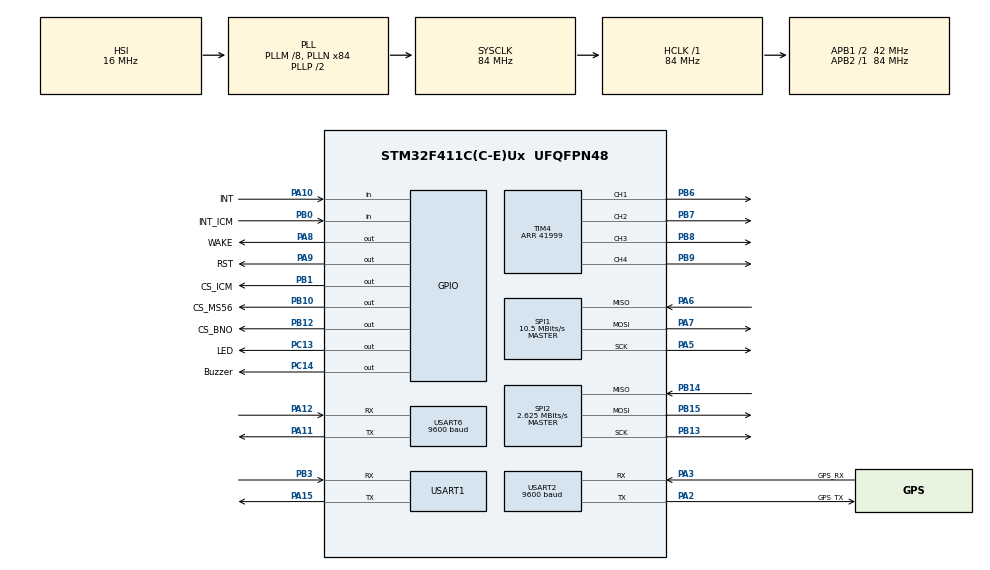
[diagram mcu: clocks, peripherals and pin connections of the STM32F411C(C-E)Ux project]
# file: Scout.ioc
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Mcu.Family=STM32F4
Mcu.Name=STM32F411C(C-E)Ux
Mcu.Package=UFQFPN48
NVIC.PriorityGroup=NVIC_PRIORITYGROUP_4
NVIC.TIM2_IRQn=true\:0\:0\:false\:false\:true\:true\:true\:true
NVIC.TIM3_IRQn=true\:0\:0\:false\:false\:true\:true\:true\:true
NVIC.USART1_IRQn=true\:0\:0\:false\:false\:true\:true\:true\:true
NVIC.USART2_IRQn=true\:0\:0\:false\:false\:true\:true\:true\:true
NVIC.USART6_IRQn=true\:0\:0\:false\:false\:true\:true\:true\:true
PA10.GPIO_Label=INT
PA10.Signal=GPIO_Input
PA11.Mode=Asynchronous
PA11.Signal=USART6_TX
PA12.Mode=Asynchronous
PA12.Signal=USART6_RX
PA13.Mode=Serial_Wire
PA13.Signal=SYS_JTMS-SWDIO
PA14.Mode=Serial_Wire
PA14.Signal=SYS_JTCK-SWCLK
PA15.Mode=Asynchronous
PA15.Signal=USART1_TX
PA2.GPIO_Label=GPS_TX
PA2.Mode=Asynchronous
PA2.Signal=USART2_TX
PA3.GPIO_Label=GPS_RX
PA3.Mode=Asynchronous
PA3.Signal=USART2_RX
PA5.Mode=Full_Duplex_Master
PA5.Signal=SPI1_SCK
PA6.Mode=Full_Duplex_Master
PA6.Signal=SPI1_MISO
PA7.Mode=Full_Duplex_Master
PA7.Signal=SPI1_MOSI
PA8.GPIO_Label=WAKE
PA8.Signal=GPIO_Output
PA9.GPIO_Label=RST
PA9.Signal=GPIO_Output
PB0.GPIO_Label=INT_ICM
PB0.Signal=GPIO_Input
PB1.GPIO_Label=CS_ICM
PB1.Signal=GPIO_Output
PB10.GPIO_Label=CS_MS56
PB10.Signal=GPIO_Output
PB12.GPIO_Label=CS_BNO
PB12.Signal=GPIO_Output
PB13.Mode=Full_Duplex_Master
PB13.Signal=SPI2_SCK
PB14.Mode=Full_Duplex_Master
PB14.Signal=SPI2_MISO
PB15.Mode=Full_Duplex_Master
PB15.Signal=SPI2_MOSI
PB3.Mode=Asynchronous
PB3.Signal=USART1_RX
PB6.Signal=S_TIM4_CH1
PB7.Signal=S_TIM4_CH2
PB8.Signal=S_TIM4_CH3
PB9.Signal=S_TIM4_CH4
PC13-ANTI_TAMP.GPIO_Label=LED
PC13-ANTI_TAMP.Signal=GPIO_Output
PC14-OSC32_IN.GPIO_Label=Buzzer
PC14-OSC32_IN.Signal=GPIO_Output
PH0\ -\ OSC_IN.Mode=HSE-External-Oscillator
PH0\ -\ OSC_IN.Signal=RCC_OSC_IN
PH1\ -\ OSC_OUT.Mode=HSE-External-Oscillator
PH1\ -\ OSC_OUT.Signal=RCC_OSC_OUT
ProjectManager.HeapSize=0x200
ProjectManager.StackSize=0x400
ProjectManager.TargetToolchain=STM32CubeIDE
RCC.48MHZClocksFreq_Value=42000000
RCC.AHBFreq_Value=84000000
RCC.APB1CLKDivider=RCC_HCLK_DIV2
RCC.APB1Freq_Value=42000000
RCC.APB1TimFreq_Value=84000000
RCC.APB2Freq_Value=84000000
RCC.APB2TimFreq_Value=84000000
RCC.CortexFreq_Value=84000000
RCC.HCLKFreq_Value=84000000
RCC.HSE_VALUE=8000000
RCC.HSI_VALUE=16000000
RCC.LSE_VALUE=32768
RCC.PLLM=8
RCC.PLLN=84
RCC.SYSCLKFreq_VALUE=84000000
RCC.SYSCLKSource=RCC_SYSCLKSOURCE_PLLCLK
RCC.VCOOutputFreq_Value=168000000
SH.S_TIM4_CH1.0=TIM4_CH1,PWM Generation1 CH1
SH.S_TIM4_CH2.0=TIM4_CH2,PWM Generation2 CH2
SH.S_TIM4_CH3.0=TIM4_CH3,PWM Generation3 CH3
SH.S_TIM4_CH4.0=TIM4_CH4,PWM Generation4 CH4
SPI1.BaudRatePrescaler=SPI_BAUDRATEPRESCALER_8
SPI1.CLKPhase=SPI_PHASE_2EDGE
SPI1.CLKPolarity=SPI_POLARITY_HIGH
SPI1.CalculateBaudRate=10.5 MBits/s
SPI1.Direction=SPI_DIRECTION_2LINES
SPI1.Mode=SPI_MODE_MASTER
SPI1.VirtualType=VM_MASTER
SPI2.BaudRatePrescaler=SPI_BAUDRATEPRESCALER_16
SPI2.CLKPhase=SPI_PHASE_2EDGE
SPI2.CLKPolarity=SPI_POLARITY_HIGH
SPI2.CalculateBaudRate=2.625 MBits/s
SPI2.Direction=SPI_DIRECTION_2LINES
SPI2.Mode=SPI_MODE_MASTER
SPI2.VirtualType=VM_MASTER
TIM2.Period=1000
TIM2.Prescaler=840-1
TIM3.Period=100-1
TIM3.Prescaler=4200-1
TIM4.AutoReloadPreload=TIM_AUTORELOAD_PRELOAD_ENABLE
TIM4.Channel-PWM\ Generation1\ CH1=TIM_CHANNEL_1
TIM4.Channel-PWM\ Generation2\ CH2=TIM_CHANNEL_2
TIM4.Channel-PWM\ Generation3\ CH3=TIM_CHANNEL_3
TIM4.Channel-PWM\ Generation4\ CH4=TIM_CHANNEL_4
TIM4.OCFastMode_PWM-PWM\ Generation1\ CH1=TIM_OCFAST_ENABLE
TIM4.OCFastMode_PWM-PWM\ Generation2\ CH2=TIM_OCFAST_ENABLE
TIM4.OCFastMode_PWM-PWM\ Generation3\ CH3=TIM_OCFAST_ENABLE
TIM4.OCFastMode_PWM-PWM\ Generation4\ CH4=TIM_OCFAST_ENABLE
TIM4.Period=41999
USART1.VirtualMode=VM_ASYNC
USART2.BaudRate=9600
USART2.VirtualMode=VM_ASYNC
USART6.BaudRate=9600
USART6.VirtualMode=VM_ASYNC
VP_TIM2_VS_ClockSourceINT.Mode=Internal
VP_TIM3_VS_ClockSourceINT.Mode=Internal
VP_TIM4_VS_ClockSourceINT.Mode=Internal
board=custom

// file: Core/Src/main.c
/* USER CODE BEGIN Header */
/**
  ******************************************************************************
  * @file           : main.c
  * @brief          : Main program body
  ******************************************************************************
  * @attention
  *
  * Copyright (c) 2023 STMicroelectronics.
  * All rights reserved.
  *
  * This software is licensed under terms that can be found in the LICENSE file
  * in the root directory of this software component.
  * If no LICENSE file comes with this software, it is provided AS-IS.
  *
  ******************************************************************************
  */
/* USER CODE END Header */
#include "main.h"

/* USER CODE BEGIN Includes */

#include "PID control.h"
#include "ibus.h"
#include "BNO080.h"
#include "Quaternion.h"
#include "ICM20602.h"
#include "lwgps/lwgps.h"
/* USER CODE END Includes */

/* USER CODE BEGIN PTD */
#define RX_BUFFER_SIZE 		128
#define RX_PID_BUFFER_SIZE  73

extern PIDDouble roll;
extern PIDDouble pitch;
extern PIDSingle yaw_heading;
extern PIDSingle yaw_rate;
extern PIDSingle altitude;

lwgps_t gps;
struct FSiA6B_iBus iBus;

struct MS5611_Vars
{
  uint16_t C1, C2, C3, C4, C5, C6, C7;
  uint32_t D1, D2;
  int32_t dT, TEMP, P;
  int64_t OFF, SENS;
}MS5611;

union{
	float f;
	uint8_t b[4];

}converter;

/* USER CODE END PTD */

/* USER CODE BEGIN PD */

int counter =0, counter2=0 , gyro_flag =0 , accel_flag =0, tim3_1ms_flag=0 , tim2_10ms_flag =0;
int roll_angle, pitch_angle ;
int motor1, motor2,motor3,motor4 , task;

float   bno_gyro_x,bno_gyro_y,bno_gyro_z;
float Temp , Pressure , Altitude_meas , Altitude_set_point;

uint8_t rx_buffer_gps[RX_BUFFER_SIZE];
uint8_t rx_index=0;
uint8_t rx_data_gps=0;

uint8_t rx_buffer_PID[RX_PID_BUFFER_SIZE];
uint8_t rx_data_PID=0 , rx_index_PID=0;
uint8_t PID_Config_flag=0;

uint8_t ibus_rx_buf[32];
uint8_t ibus_rx_cplt_flag=0;
uint8_t uart1_rx_data;

uint8_t motor_arm;
uint8_t test[3] = {0};
uint8_t Tx_Buff[28]={0};

unsigned char cnt =0;

/* USER CODE END PD */

TIM_HandleTypeDef htim2;
TIM_HandleTypeDef htim3;
TIM_HandleTypeDef htim4;

UART_HandleTypeDef huart1;
UART_HandleTypeDef huart2;
UART_HandleTypeDef huart6;

void SystemClock_Config(void);
static void MX_GPIO_Init(void);
static void MX_TIM2_Init(void);
static void MX_TIM3_Init(void);
static void MX_USART1_UART_Init(void);
static void MX_SPI2_Init(void);
static void MX_SPI1_Init(void);
static void MX_TIM4_Init(void);
static void MX_USART2_UART_Init(void);
static void MX_USART6_UART_Init(void);
/* USER CODE BEGIN PFP */

void MS5611_C();
void MS5611_D_Convertion();
void MS5611_calc(void);

uint32_t SPI1_Read32(void);
uint16_t SPI1_Read16(void);
uint8_t SPI1_Read8(void);

void SPI1_Write8(uint8_t data);
void Buzzer();
void Calibrate_ESC();
void send();
void PID_Coef_Config(void);
void PID_CONFIG_LORA(void);

unsigned char iBus_isActiveFailsafe(FSiA6B_iBus* iBus);
int _write(int file , char*p, int len);
uint32_t map( long A , long B , long C , long D, long E);

/* USER CODE END PFP */

/* USER CODE BEGIN 0 */

void HAL_TIM_PeriodElapsedCallback(TIM_HandleTypeDef *htim)
{

	if(htim->Instance == TIM2) // 10ms
	{

		if(counter == 1)	task=1; //d1 conv
		if(counter == 3)	task=2; // d1 read
		if(counter == 5)	task=3; // d2 conv
		if(counter == 7)	task=4; // d2 read
		if(counter == 9)	task=5; // math1
		if(counter == 10)	task=6; // math2
		if(counter == 60)			// math3
		{
		 task = 7;
		 counter =0;
		}

		counter++;
	}

	if(htim->Instance == TIM3) // 1ms
	{
		tim3_1ms_flag =1;
	}

}

void HAL_UART_RxCpltCallback(UART_HandleTypeDef *huart)
{
	//static unsigned char cnt =0;

	if(huart->Instance == USART1)
	{

		switch(cnt)
				{

				case 0:

					if(uart1_rx_data == 0x20)
					{
						ibus_rx_buf[cnt] = uart1_rx_data;
						cnt++;
					}

				break;

				case 1:

					if(uart1_rx_data == 0x40)
					{
						ibus_rx_buf[cnt] = uart1_rx_data;
						cnt++;
					}

				else cnt =0;

				break;

				case 31:
					ibus_rx_buf[cnt] = uart1_rx_data;
					cnt =0;
					ibus_rx_cplt_flag =1;

				break;

				default:
					ibus_rx_buf[cnt] = uart1_rx_data;
					cnt++;
				break;

			    }

		HAL_UART_Receive_IT(&huart1, &uart1_rx_data, 1);

	}

	if(huart->Instance == USART2){
		if(rx_data_gps != '\n' && rx_index < RX_BUFFER_SIZE) {
			rx_buffer_gps[rx_index++] = rx_data_gps;
		} else {
			lwgps_process(&gps, rx_buffer_gps, rx_index+1);
			rx_index = 0;
			rx_data_gps = 0;
		}
		HAL_UART_Receive_IT(&huart2, &rx_data_gps, 1);
		}

	if(huart->Instance == USART6){

		if(rx_data_PID != '\n' && rx_index_PID < RX_PID_BUFFER_SIZE)
		{
			rx_buffer_PID[rx_index_PID++] = rx_data_PID;
		}
		else {
			rx_index_PID = 0;
			rx_data_PID = 0;
			PID_Config_flag = 1;
		}
		HAL_UART_Receive_IT(&huart6, &rx_data_PID, 1);
	}

}

void HAL_UART_TxCpltCallback(UART_HandleTypeDef *huart) {

}

/* USER CODE END 0 */

int main(void)
{

  /* USER CODE BEGIN 1 */

	float q[4];
	float quatRadianAccuracy;
	float yaw_heading_reference;
	int motor_arming_flag=0;

  /* USER CODE END 1 */

  /* MCU Configuration--------------------------------------------------------*/

  /* Reset of all peripherals, Initializes the Flash interface and the Systick. */
  HAL_Init();

  /* Configure the system clock */
  SystemClock_Config();

  /* Initialize all configured peripherals */
  MX_GPIO_Init();
  MX_TIM2_Init();
  MX_TIM3_Init();
  MX_USART1_UART_Init();
  MX_SPI2_Init();
  MX_SPI1_Init();
  MX_TIM4_Init();
  MX_USART2_UART_Init();
  MX_USART6_UART_Init();
  /* USER CODE BEGIN 2 */

  HAL_TIM_Base_Start_IT(&htim2);
  HAL_TIM_Base_Start_IT(&htim3);

  // ** PWM **
  HAL_TIM_PWM_Start(&htim4, TIM_CHANNEL_1);
  HAL_TIM_PWM_Start(&htim4, TIM_CHANNEL_2);
  HAL_TIM_PWM_Start(&htim4, TIM_CHANNEL_3);
  HAL_TIM_PWM_Start(&htim4, TIM_CHANNEL_4);

  HAL_UART_Receive_IT(&huart1, &uart1_rx_data, 1);
  HAL_UART_Receive_IT(&huart2, &rx_data_gps, 1);
  HAL_UART_Transmit_IT(&huart6, Tx_Buff, 28);
  HAL_UART_Receive_IT(&huart6, &rx_data_PID, 1);

  PID_Coef_Config();

  Buzzer();

  BNO080_Initialization();
  BNO080_enableRotationVector(2500); // 2500us 400 hz
  //BNO080_enableGyro(1000);

  ICM20602_Initialization();
  HAL_GPIO_WritePin(GPIOB, GPIO_PIN_10, SET);
  MS5611_C();
  MS5611_D_Convertion();
  MS5611_calc();

  lwgps_init(&gps);

//  Calibrate_ESC();

  /* USER CODE END 2 */

  /* Infinite loop */
  while (1)
  {

    /* USER CODE BEGIN 3 */

	  HAL_GPIO_TogglePin(GPIOC, GPIO_PIN_13);

	  if(task == 7)
	  {
		 send();

	  }

	  if(ibus_rx_cplt_flag == 1) // kumanda
	 	{
	 	 ibus_rx_cplt_flag =0;

	 		 if(iBus_Check_CHKSUM(&ibus_rx_buf[0], 32) == 1)
	 		 {
	 			 iBus_Parsing(&ibus_rx_buf[0], &iBus);

	 			 if(iBus_isActiveFailsafe(&iBus)== 1)
	 			 {
	 				 TIM4->CCR1 = 0;
	 				 TIM4->CCR2 = 0;
	 				 TIM4->CCR3 = 0;
	 				 TIM4->CCR4 = 0;
	 			 }
	 		 }
	 	}

	  if(BNO080_dataAvailable() == 1)
	  {
		  q[0] = BNO080_getQuatI();
		  q[1] = BNO080_getQuatJ();
		  q[2] = BNO080_getQuatK();
		  q[3] = BNO080_getQuatReal();
		  quatRadianAccuracy = BNO080_getQuatRadianAccuracy();

		  Quaternion_Update(&q[0]);

		  BNO080_Roll = BNO080_Roll-0.5;
		  BNO080_Pitch = -BNO080_Pitch-1.5;

	  }

	  if(ICM20602_DataReady() == 1)
	  {
		//  LL_GPIO_TogglePin(GPIOA, LL_GPIO_PIN_4);

		  ICM20602_Get3AxisGyroRawData(&ICM20602.gyro_x_raw);

		  ICM20602.gyro_x = ICM20602.gyro_x_raw * 2000.f / 32768.f;
		  ICM20602.gyro_y = ICM20602.gyro_y_raw * 2000.f / 32768.f;
		  ICM20602.gyro_z = ICM20602.gyro_z_raw * 2000.f / 32768.f;

		  ICM20602.gyro_x = -ICM20602.gyro_x;
		  ICM20602.gyro_z = -ICM20602.gyro_z;

	  }

	  if(iBus.SwA == 1000)
	  {
		  if(iBus.LV < 1010)
	  	  {
		  motor_arming_flag = 1;
		  yaw_heading_reference = BNO080_Yaw;
	  	  }
	  }

	  if(iBus.SwA == 1000 && motor_arming_flag ==1)
	  {

	  if(tim3_1ms_flag == 1)
		  {
		  tim3_1ms_flag = 0;

	 			  Double_Roll_Pitch_PID_Calculation(&pitch, -(iBus.RV - 1500) * 0.1f, BNO080_Pitch, ICM20602.gyro_x);
	 			  Double_Roll_Pitch_PID_Calculation(&roll, -(iBus.RH - 1500) * 0.1f, BNO080_Roll, -ICM20602.gyro_y);

	 			  /* O�?UZ BURASI PID KISMI E�?ER DRONE ÇOK SAÇMALARSA BURAYI YORUMA AL VE MOTORLARDAN ÇIKART*/
//
//	 			  if(iBus.LH < 1450 || iBus.LH > 1650 )
//	 			  {
//	 				 Altitude_set_point = Altitude_meas;
//	 			  }
//
//
//	 			  if(iBus.LH < 1650 || iBus.LH > 1450 )
//	 			  {
//	 				  Single_Altitude_PID_Calculation(&altitude, Altitude_set_point, Altitude_meas);
//
//	 			  }
//	 			  else {
	 				 altitude.pid_result =0;
//	 			  }
//

	 			  if(iBus.LV < 1030 )
	 			  {
	 				  Reset_All_PID_Integrator();
	 				// yaw_heading_reference = BNO080_Yaw;
	 			  }

	 			  if(iBus.LH < 1485 || iBus.LH > 1515) // stick
	 				  {
	 				  	  yaw_heading_reference = BNO080_Yaw;
	 				      Single_Yaw_Rate_PID_Calculation(&yaw_rate, (iBus.LH - 1500), (ICM20602.gyro_z) );

	 					  motor1 = 10500 + 500 + (iBus.LV - 1000) * 10 + pitch.in.pid_result - roll.in.pid_result + yaw_rate.pid_result + altitude.pid_result;
	 					  motor2 = 10500 + 500 + (iBus.LV - 1000) * 10 - pitch.in.pid_result + roll.in.pid_result + yaw_rate.pid_result + altitude.pid_result;
	 					  motor3 = 10500 + 500 + (iBus.LV - 1000) * 10 + pitch.in.pid_result + roll.in.pid_result - yaw_rate.pid_result + altitude.pid_result;
	 					  motor4 = 10500 + 500 + (iBus.LV - 1000) * 10 - pitch.in.pid_result - roll.in.pid_result - yaw_rate.pid_result + altitude.pid_result;

	      			  }
	 				  else
	 				  {

 					     Single_Yaw_Heading_PID_Calculation(&yaw_heading, yaw_heading_reference, BNO080_Yaw, (ICM20602.gyro_z));

       					 motor1 = 10500 + 500 + (iBus.LV - 1000) * 10 + pitch.in.pid_result - roll.in.pid_result + yaw_heading.pid_result + altitude.pid_result;
						 motor2 = 10500 + 500 + (iBus.LV - 1000) * 10 - pitch.in.pid_result + roll.in.pid_result + yaw_heading.pid_result + altitude.pid_result;
						 motor3 = 10500 + 500 + (iBus.LV - 1000) * 10 + pitch.in.pid_result + roll.in.pid_result - yaw_heading.pid_result + altitude.pid_result;
	 					 motor4 = 10500 + 500 + (iBus.LV - 1000) * 10 - pitch.in.pid_result - roll.in.pid_result - yaw_heading.pid_result + altitude.pid_result;

	 				  }

			  if(iBus.LV > 1030)
			  {
				  TIM4->CCR1 = motor1 > 21000 ? 21000 : motor1 < 11000 ? 11000 : motor1;
				  TIM4->CCR2 = motor2 > 21000 ? 21000 : motor2 < 11000 ? 11000 : motor2;
				  TIM4->CCR3 = motor3 > 21000 ? 21000 : motor3 < 11000 ? 11000 : motor3;
				  TIM4->CCR4 = motor4 > 21000 ? 21000 : motor4 < 11000 ? 11000 : motor4;
			  }
			  else
			  {
				  TIM4->CCR1 = 11000;
				  TIM4->CCR2 = 11000;
				  TIM4->CCR3 = 11000;
				  TIM4->CCR4 = 11000;
			  }

		   }

	  }
	  else {
		  TIM4->CCR1 = 10500;
		  TIM4->CCR2 = 10500;
		  TIM4->CCR3 = 10500;
		  TIM4->CCR4 = 10500;
	  }

	if(PID_Config_flag == 1)
	{

		PID_CONFIG_LORA();

	  HAL_GPIO_WritePin(GPIOC, GPIO_PIN_14, SET);
	  HAL_Delay(2000);
	  HAL_GPIO_WritePin(GPIOC, GPIO_PIN_14, RESET);
	  HAL_Delay(100);

		PID_Config_flag =0;

	}

//
//	  if(task==1)
//	  {
//		  HAL_GPIO_WritePin(GPIOB, GPIO_PIN_10, RESET);
//		  SPI1_Write8(0x48);
//		  HAL_GPIO_WritePin(GPIOB, GPIO_PIN_10, SET);
//		  task=0;
//	  }
//	  else if (task==2)
//	  {
//			HAL_GPIO_WritePin(GPIOB, GPIO_PIN_10, RESET);
//				  SPI1_Write8(0x00);
//				  test[0]=SPI1_Read8();
//				  test[1]=SPI1_Read8();
//				  test[2]=SPI1_Read8();
//				  MS5611.D1 = ((test[0]<<16) + (test[1]<<8) + ( test[2]) );
//				  HAL_GPIO_WritePin(GPIOB, GPIO_PIN_10, SET);
//				  task=0;
//	  }
//	  else if (task==3)
//	  {			 HAL_GPIO_WritePin(GPIOB, GPIO_PIN_10, RESET);
//
//	  SPI1_Write8(0x58);
//	  HAL_GPIO_WritePin(GPIOB, GPIO_PIN_10, SET);
//	  task=0;
//	  }
//	  else if (task==4)
//	  {
//			 HAL_GPIO_WritePin(GPIOB, GPIO_PIN_10, RESET);
//				  SPI1_Write8(0x00);
//				  test[0]=SPI1_Read8();
//				  test[1]=SPI1_Read8();
//				  test[2]=SPI1_Read8();
//				  MS5611.D2 = ((test[0]<<16) + (test[1]<<8) + ( test[2]) );
//				  HAL_GPIO_WritePin(GPIOB, GPIO_PIN_10, SET);
//				  task=0;
//
//	  }
//	  else if(task==5)
//	  {
//	  MS5611.dT = MS5611.D2 - ((uint32_t)MS5611.C5 * 256);
//	  MS5611.TEMP = 2000 + (((int64_t)MS5611.dT * MS5611.C6) / 8388608);
//	  Temp = MS5611.TEMP/100.0;
//	  task = 0;
//	  }
//	  else if(task==6)
//	  {
//	    MS5611.OFF = (int64_t)MS5611.C2*65535 + (int64_t)MS5611.C4*MS5611.dT/128;	//5611
//		MS5611.SENS = (int64_t)MS5611.C1*32768 + (int64_t)MS5611.C3*MS5611.dT/256;	//5611
//		MS5611.P = (MS5611.D1*MS5611.SENS/2097152 - MS5611.OFF)/32768;
//		task = 0;
//	  }
//	  else if(task==7)
//	  {
//	  MS5611.P = (MS5611.D1*MS5611.SENS/2097152 - MS5611.OFF)/32768;
//	  Pressure = MS5611.P/100.0;
//	  Altitude_meas = (1 - pow((Pressure / 1013.25),0.190284)) * 44191.4;
//	  }

  } // while (1)

  /* USER CODE END 3 */
}

void SystemClock_Config(void)
{
  RCC_OscInitTypeDef RCC_OscInitStruct = {0};
  RCC_ClkInitTypeDef RCC_ClkInitStruct = {0};

  /** Configure the main internal regulator output voltage
  */
  __HAL_RCC_PWR_CLK_ENABLE();
  __HAL_PWR_VOLTAGESCALING_CONFIG(PWR_REGULATOR_VOLTAGE_SCALE1);

  /** Initializes the RCC Oscillators according to the specified parameters
  * in the RCC_OscInitTypeDef structure.
  */
  RCC_OscInitStruct.OscillatorType = RCC_OSCILLATORTYPE_HSI;
  RCC_OscInitStruct.HSIState = RCC_HSI_ON;
  RCC_OscInitStruct.HSICalibrationValue = RCC_HSICALIBRATION_DEFAULT;
  RCC_OscInitStruct.PLL.PLLState = RCC_PLL_ON;
  RCC_OscInitStruct.PLL.PLLSource = RCC_PLLSOURCE_HSI;
  RCC_OscInitStruct.PLL.PLLM = 8;
  RCC_OscInitStruct.PLL.PLLN = 84;
  RCC_OscInitStruct.PLL.PLLP = RCC_PLLP_DIV2;
  RCC_OscInitStruct.PLL.PLLQ = 4;
  if (HAL_RCC_OscConfig(&RCC_OscInitStruct) != HAL_OK)
  {
    Error_Handler();
  }

  /** Initializes the CPU, AHB and APB buses clocks
  */
  RCC_ClkInitStruct.ClockType = RCC_CLOCKTYPE_HCLK|RCC_CLOCKTYPE_SYSCLK
                              |RCC_CLOCKTYPE_PCLK1|RCC_CLOCKTYPE_PCLK2;
  RCC_ClkInitStruct.SYSCLKSource = RCC_SYSCLKSOURCE_PLLCLK;
  RCC_ClkInitStruct.AHBCLKDivider = RCC_SYSCLK_DIV1;
  RCC_ClkInitStruct.APB1CLKDivider = RCC_HCLK_DIV2;
  RCC_ClkInitStruct.APB2CLKDivider = RCC_HCLK_DIV1;

  if (HAL_RCC_ClockConfig(&RCC_ClkInitStruct, FLASH_LATENCY_2) != HAL_OK)
  {
    Error_Handler();
  }
}

static void MX_SPI1_Init(void)
{

  LL_SPI_InitTypeDef SPI_InitStruct = {0};

  LL_GPIO_InitTypeDef GPIO_InitStruct = {0};

  /* Peripheral clock enable */
  LL_APB2_GRP1_EnableClock(LL_APB2_GRP1_PERIPH_SPI1);

  LL_AHB1_GRP1_EnableClock(LL_AHB1_GRP1_PERIPH_GPIOA);
  /**SPI1 GPIO Configuration
  PA5   ------> SPI1_SCK
  PA6   ------> SPI1_MISO
  PA7   ------> SPI1_MOSI
  */
  GPIO_InitStruct.Pin = LL_GPIO_PIN_5|LL_GPIO_PIN_6|LL_GPIO_PIN_7;
  GPIO_InitStruct.Mode = LL_GPIO_MODE_ALTERNATE;
  GPIO_InitStruct.Speed = LL_GPIO_SPEED_FREQ_VERY_HIGH;
  GPIO_InitStruct.OutputType = LL_GPIO_OUTPUT_PUSHPULL;
  GPIO_InitStruct.Pull = LL_GPIO_PULL_NO;
  GPIO_InitStruct.Alternate = LL_GPIO_AF_5;
  LL_GPIO_Init(GPIOA, &GPIO_InitStruct);

  /* SPI1 parameter configuration*/
  SPI_InitStruct.TransferDirection = LL_SPI_FULL_DUPLEX;
  SPI_InitStruct.Mode = LL_SPI_MODE_MASTER;
  SPI_InitStruct.DataWidth = LL_SPI_DATAWIDTH_8BIT;
  SPI_InitStruct.ClockPolarity = LL_SPI_POLARITY_HIGH;
  SPI_InitStruct.ClockPhase = LL_SPI_PHASE_2EDGE;
  SPI_InitStruct.NSS = LL_SPI_NSS_SOFT;
  SPI_InitStruct.BaudRate = LL_SPI_BAUDRATEPRESCALER_DIV8;
  SPI_InitStruct.BitOrder = LL_SPI_MSB_FIRST;
  SPI_InitStruct.CRCCalculation = LL_SPI_CRCCALCULATION_DISABLE;
  SPI_InitStruct.CRCPoly = 10;
  LL_SPI_Init(SPI1, &SPI_InitStruct);
  LL_SPI_SetStandard(SPI1, LL_SPI_PROTOCOL_MOTOROLA);

}

static void MX_SPI2_Init(void)
{

  LL_SPI_InitTypeDef SPI_InitStruct = {0};

  LL_GPIO_InitTypeDef GPIO_InitStruct = {0};

  /* Peripheral clock enable */
  LL_APB1_GRP1_EnableClock(LL_APB1_GRP1_PERIPH_SPI2);

  LL_AHB1_GRP1_EnableClock(LL_AHB1_GRP1_PERIPH_GPIOB);
  /**SPI2 GPIO Configuration
  PB13   ------> SPI2_SCK
  PB14   ------> SPI2_MISO
  PB15   ------> SPI2_MOSI
  */
  GPIO_InitStruct.Pin = LL_GPIO_PIN_13|LL_GPIO_PIN_14|LL_GPIO_PIN_15;
  GPIO_InitStruct.Mode = LL_GPIO_MODE_ALTERNATE;
  GPIO_InitStruct.Speed = LL_GPIO_SPEED_FREQ_VERY_HIGH;
  GPIO_InitStruct.OutputType = LL_GPIO_OUTPUT_PUSHPULL;
  GPIO_InitStruct.Pull = LL_GPIO_PULL_NO;
  GPIO_InitStruct.Alternate = LL_GPIO_AF_5;
  LL_GPIO_Init(GPIOB, &GPIO_InitStruct);

  /* SPI2 parameter configuration*/
  SPI_InitStruct.TransferDirection = LL_SPI_FULL_DUPLEX;
  SPI_InitStruct.Mode = LL_SPI_MODE_MASTER;
  SPI_InitStruct.DataWidth = LL_SPI_DATAWIDTH_8BIT;
  SPI_InitStruct.ClockPolarity = LL_SPI_POLARITY_HIGH;
  SPI_InitStruct.ClockPhase = LL_SPI_PHASE_2EDGE;
  SPI_InitStruct.NSS = LL_SPI_NSS_SOFT;
  SPI_InitStruct.BaudRate = LL_SPI_BAUDRATEPRESCALER_DIV16;
  SPI_InitStruct.BitOrder = LL_SPI_MSB_FIRST;
  SPI_InitStruct.CRCCalculation = LL_SPI_CRCCALCULATION_DISABLE;
  SPI_InitStruct.CRCPoly = 10;
  LL_SPI_Init(SPI2, &SPI_InitStruct);
  LL_SPI_SetStandard(SPI2, LL_SPI_PROTOCOL_MOTOROLA);

}

static void MX_TIM2_Init(void)
{

  TIM_ClockConfigTypeDef sClockSourceConfig = {0};
  TIM_MasterConfigTypeDef sMasterConfig = {0};

  htim2.Instance = TIM2;
  htim2.Init.Prescaler = 840-1;
  htim2.Init.CounterMode = TIM_COUNTERMODE_UP;
  htim2.Init.Period = 1000;
  htim2.Init.ClockDivision = TIM_CLOCKDIVISION_DIV1;
  htim2.Init.AutoReloadPreload = TIM_AUTORELOAD_PRELOAD_DISABLE;
  if (HAL_TIM_Base_Init(&htim2) != HAL_OK)
  {
    Error_Handler();
  }
  sClockSourceConfig.ClockSource = TIM_CLOCKSOURCE_INTERNAL;
  if (HAL_TIM_ConfigClockSource(&htim2, &sClockSourceConfig) != HAL_OK)
  {
    Error_Handler();
  }
  sMasterConfig.MasterOutputTrigger = TIM_TRGO_RESET;
  sMasterConfig.MasterSlaveMode = TIM_MASTERSLAVEMODE_DISABLE;
  if (HAL_TIMEx_MasterConfigSynchronization(&htim2, &sMasterConfig) != HAL_OK)
  {
    Error_Handler();
  }

}

static void MX_TIM3_Init(void)
{

  TIM_ClockConfigTypeDef sClockSourceConfig = {0};
  TIM_MasterConfigTypeDef sMasterConfig = {0};

  htim3.Instance = TIM3;
  htim3.Init.Prescaler = 4200-1;
  htim3.Init.CounterMode = TIM_COUNTERMODE_UP;
  htim3.Init.Period = 100-1;
  htim3.Init.ClockDivision = TIM_CLOCKDIVISION_DIV1;
  htim3.Init.AutoReloadPreload = TIM_AUTORELOAD_PRELOAD_DISABLE;
  if (HAL_TIM_Base_Init(&htim3) != HAL_OK)
  {
    Error_Handler();
  }
  sClockSourceConfig.ClockSource = TIM_CLOCKSOURCE_INTERNAL;
  if (HAL_TIM_ConfigClockSource(&htim3, &sClockSourceConfig) != HAL_OK)
  {
    Error_Handler();
  }
  sMasterConfig.MasterOutputTrigger = TIM_TRGO_RESET;
  sMasterConfig.MasterSlaveMode = TIM_MASTERSLAVEMODE_DISABLE;
  if (HAL_TIMEx_MasterConfigSynchronization(&htim3, &sMasterConfig) != HAL_OK)
  {
    Error_Handler();
  }

}

static void MX_TIM4_Init(void)
{

  TIM_ClockConfigTypeDef sClockSourceConfig = {0};
  TIM_MasterConfigTypeDef sMasterConfig = {0};
  TIM_OC_InitTypeDef sConfigOC = {0};

  htim4.Instance = TIM4;
  htim4.Init.Prescaler = 0;
  htim4.Init.CounterMode = TIM_COUNTERMODE_UP;
  htim4.Init.Period = 41999;
  htim4.Init.ClockDivision = TIM_CLOCKDIVISION_DIV1;
  htim4.Init.AutoReloadPreload = TIM_AUTORELOAD_PRELOAD_ENABLE;
  if (HAL_TIM_Base_Init(&htim4) != HAL_OK)
  {
    Error_Handler();
  }
  sClockSourceConfig.ClockSource = TIM_CLOCKSOURCE_INTERNAL;
  if (HAL_TIM_ConfigClockSource(&htim4, &sClockSourceConfig) != HAL_OK)
  {
    Error_Handler();
  }
  if (HAL_TIM_PWM_Init(&htim4) != HAL_OK)
  {
    Error_Handler();
  }
  sMasterConfig.MasterOutputTrigger = TIM_TRGO_RESET;
  sMasterConfig.MasterSlaveMode = TIM_MASTERSLAVEMODE_DISABLE;
  if (HAL_TIMEx_MasterConfigSynchronization(&htim4, &sMasterConfig) != HAL_OK)
  {
    Error_Handler();
  }
  sConfigOC.OCMode = TIM_OCMODE_PWM1;
  sConfigOC.Pulse = 0;
  sConfigOC.OCPolarity = TIM_OCPOLARITY_HIGH;
  sConfigOC.OCFastMode = TIM_OCFAST_ENABLE;
  if (HAL_TIM_PWM_ConfigChannel(&htim4, &sConfigOC, TIM_CHANNEL_1) != HAL_OK)
  {
    Error_Handler();
  }
  if (HAL_TIM_PWM_ConfigChannel(&htim4, &sConfigOC, TIM_CHANNEL_2) != HAL_OK)
  {
    Error_Handler();
  }
  if (HAL_TIM_PWM_ConfigChannel(&htim4, &sConfigOC, TIM_CHANNEL_3) != HAL_OK)
  {
    Error_Handler();
  }
  if (HAL_TIM_PWM_ConfigChannel(&htim4, &sConfigOC, TIM_CHANNEL_4) != HAL_OK)
  {
    Error_Handler();
  }
  HAL_TIM_MspPostInit(&htim4);

}

static void MX_USART1_UART_Init(void)
{

  huart1.Instance = USART1;
  huart1.Init.BaudRate = 115200;
  huart1.Init.WordLength = UART_WORDLENGTH_8B;
  huart1.Init.StopBits = UART_STOPBITS_1;
  huart1.Init.Parity = UART_PARITY_NONE;
  huart1.Init.Mode = UART_MODE_TX_RX;
  huart1.Init.HwFlowCtl = UART_HWCONTROL_NONE;
  huart1.Init.OverSampling = UART_OVERSAMPLING_16;
  if (HAL_UART_Init(&huart1) != HAL_OK)
  {
    Error_Handler();
  }

}

static void MX_USART2_UART_Init(void)
{

  huart2.Instance = USART2;
  huart2.Init.BaudRate = 9600;
  huart2.Init.WordLength = UART_WORDLENGTH_8B;
  huart2.Init.StopBits = UART_STOPBITS_1;
  huart2.Init.Parity = UART_PARITY_NONE;
  huart2.Init.Mode = UART_MODE_TX_RX;
  huart2.Init.HwFlowCtl = UART_HWCONTROL_NONE;
  huart2.Init.OverSampling = UART_OVERSAMPLING_16;
  if (HAL_UART_Init(&huart2) != HAL_OK)
  {
    Error_Handler();
  }

}

static void MX_USART6_UART_Init(void)
{

  huart6.Instance = USART6;
  huart6.Init.BaudRate = 9600;
  huart6.Init.WordLength = UART_WORDLENGTH_8B;
  huart6.Init.StopBits = UART_STOPBITS_1;
  huart6.Init.Parity = UART_PARITY_NONE;
  huart6.Init.Mode = UART_MODE_TX_RX;
  huart6.Init.HwFlowCtl = UART_HWCONTROL_NONE;
  huart6.Init.OverSampling = UART_OVERSAMPLING_16;
  if (HAL_UART_Init(&huart6) != HAL_OK)
  {
    Error_Handler();
  }

}

static void MX_GPIO_Init(void)
{
  LL_GPIO_InitTypeDef GPIO_InitStruct = {0};

  /* GPIO Ports Clock Enable */
  LL_AHB1_GRP1_EnableClock(LL_AHB1_GRP1_PERIPH_GPIOC);
  LL_AHB1_GRP1_EnableClock(LL_AHB1_GRP1_PERIPH_GPIOH);
  LL_AHB1_GRP1_EnableClock(LL_AHB1_GRP1_PERIPH_GPIOA);
  LL_AHB1_GRP1_EnableClock(LL_AHB1_GRP1_PERIPH_GPIOB);

  /**/
  LL_GPIO_ResetOutputPin(GPIOC, LED_Pin|Buzzer_Pin);

  /**/
  LL_GPIO_ResetOutputPin(GPIOB, CS_ICM_Pin|CS_MS56_Pin|CS_BNO_Pin);

  /**/
  LL_GPIO_ResetOutputPin(GPIOA, WAKE_Pin|RST_Pin);

  /**/
  GPIO_InitStruct.Pin = LED_Pin|Buzzer_Pin;
  GPIO_InitStruct.Mode = LL_GPIO_MODE_OUTPUT;
  GPIO_InitStruct.Speed = LL_GPIO_SPEED_FREQ_LOW;
  GPIO_InitStruct.OutputType = LL_GPIO_OUTPUT_PUSHPULL;
  GPIO_InitStruct.Pull = LL_GPIO_PULL_NO;
  LL_GPIO_Init(GPIOC, &GPIO_InitStruct);

  /**/
  GPIO_InitStruct.Pin = INT_ICM_Pin;
  GPIO_InitStruct.Mode = LL_GPIO_MODE_INPUT;
  GPIO_InitStruct.Pull = LL_GPIO_PULL_NO;
  LL_GPIO_Init(INT_ICM_GPIO_Port, &GPIO_InitStruct);

  /**/
  GPIO_InitStruct.Pin = CS_ICM_Pin|CS_MS56_Pin|CS_BNO_Pin;
  GPIO_InitStruct.Mode = LL_GPIO_MODE_OUTPUT;
  GPIO_InitStruct.Speed = LL_GPIO_SPEED_FREQ_LOW;
  GPIO_InitStruct.OutputType = LL_GPIO_OUTPUT_PUSHPULL;
  GPIO_InitStruct.Pull = LL_GPIO_PULL_NO;
  LL_GPIO_Init(GPIOB, &GPIO_InitStruct);

  /**/
  GPIO_InitStruct.Pin = WAKE_Pin|RST_Pin;
  GPIO_InitStruct.Mode = LL_GPIO_MODE_OUTPUT;
  GPIO_InitStruct.Speed = LL_GPIO_SPEED_FREQ_LOW;
  GPIO_InitStruct.OutputType = LL_GPIO_OUTPUT_PUSHPULL;
  GPIO_InitStruct.Pull = LL_GPIO_PULL_NO;
  LL_GPIO_Init(GPIOA, &GPIO_InitStruct);

  /**/
  GPIO_InitStruct.Pin = INT_Pin;
  GPIO_InitStruct.Mode = LL_GPIO_MODE_INPUT;
  GPIO_InitStruct.Pull = LL_GPIO_PULL_NO;
  LL_GPIO_Init(INT_GPIO_Port, &GPIO_InitStruct);

}

/* USER CODE BEGIN 4 */
void MS5611_C()
{
	  uint8_t test[3] = {0};
	  HAL_GPIO_WritePin(GPIOB, GPIO_PIN_10, RESET);

	  SPI1_Write8(0xA2);
	  test[0]=SPI1_Read8();
	  test[1]=SPI1_Read8();
	  MS5611.C1 = (test[0]<<8) + (test[1]);

	  HAL_GPIO_WritePin(GPIOB, GPIO_PIN_10, SET);
	  HAL_GPIO_WritePin(GPIOB, GPIO_PIN_10, RESET);

	  SPI1_Write8(0xA4);
	  test[0]=SPI1_Read8();
	  test[1]=SPI1_Read8();
	  MS5611.C2 = (test[0]<<8) + (test[1]);

	  HAL_GPIO_WritePin(GPIOB, GPIO_PIN_10, SET);
	  HAL_GPIO_WritePin(GPIOB, GPIO_PIN_10, RESET);

	  SPI1_Write8(0xA6);
	  test[0]=SPI1_Read8();
	  test[1]=SPI1_Read8();
	  MS5611.C3 = (test[0]<<8) + (test[1]);

	  HAL_GPIO_WritePin(GPIOB, GPIO_PIN_10, SET);

	  HAL_GPIO_WritePin(GPIOB, GPIO_PIN_10, RESET);

	  SPI1_Write8(0xA8);
	  test[0]=SPI1_Read8();
	  test[1]=SPI1_Read8();
	  MS5611.C4 = (test[0]<<8) + (test[1]);

	  HAL_GPIO_WritePin(GPIOB, GPIO_PIN_10, SET);

	  HAL_GPIO_WritePin(GPIOB, GPIO_PIN_10, RESET);

	  SPI1_Write8(0xAA);
	  test[0]=SPI1_Read8();
	  test[1]=SPI1_Read8();
	  MS5611.C5 = (test[0]<<8) + (test[1]);

	  HAL_GPIO_WritePin(GPIOB, GPIO_PIN_10, SET);
	  HAL_GPIO_WritePin(GPIOB, GPIO_PIN_10, RESET);

	  SPI1_Write8(0xAC);
	  test[0]=SPI1_Read8();
	  test[1]=SPI1_Read8();
	  MS5611.C6 = (test[0]<<8) + (test[1]);

	  HAL_GPIO_WritePin(GPIOB, GPIO_PIN_10, SET);
	  HAL_GPIO_WritePin(GPIOB, GPIO_PIN_10, RESET);

	  SPI1_Write8(0xAE);
	  test[0]=SPI1_Read8();
	  test[1]=SPI1_Read8();
	  MS5611.C7 = (test[0]<<8) + (test[1]);

	  HAL_GPIO_WritePin(GPIOB, GPIO_PIN_10, SET);

}

void MS5611_D_Convertion()
{
	uint8_t test[3] = {0};
	  HAL_GPIO_WritePin(GPIOB, GPIO_PIN_10, RESET);

	  SPI1_Write8(0x48);
	  HAL_GPIO_WritePin(GPIOB, GPIO_PIN_10, SET);
	  HAL_Delay(11);
	  HAL_GPIO_WritePin(GPIOB, GPIO_PIN_10, RESET);
	  SPI1_Write8(0x00);
	  test[0]=SPI1_Read8();
	  test[1]=SPI1_Read8();
	  test[2]=SPI1_Read8();
	  MS5611.D1 = ((test[0]<<16) + (test[1]<<8) + ( test[2]) );
	  HAL_GPIO_WritePin(GPIOB, GPIO_PIN_10, SET);

	  HAL_GPIO_WritePin(GPIOB, GPIO_PIN_10, RESET);

	  SPI1_Write8(0x58);
	  HAL_GPIO_WritePin(GPIOB, GPIO_PIN_10, SET);
	  HAL_Delay(11);
	  HAL_GPIO_WritePin(GPIOB, GPIO_PIN_10, RESET);
	  SPI1_Write8(0x00);
	  test[0]=SPI1_Read8();
	  test[1]=SPI1_Read8();
	  test[2]=SPI1_Read8();
	  MS5611.D2 = ((test[0]<<16) + (test[1]<<8) + ( test[2]) );
	  HAL_GPIO_WritePin(GPIOB, GPIO_PIN_10, SET);
}
void MS5611_calc(void)
{
	MS5611.dT = MS5611.D2 - ((uint32_t)MS5611.C5 * 256);
	MS5611.TEMP = 2000 + (((int64_t)MS5611.dT * MS5611.C6) / 8388608);
	Temp = MS5611.TEMP/100.0;

	MS5611.OFF = (int64_t)MS5611.C2*65535 + (int64_t)MS5611.C4*MS5611.dT/128;	//5611
	//MS5611.OFF = (int64_t)MS5611.C2*131072 + (int64_t)MS5611.C4*MS5611.dT/64;	//5607
	MS5611.SENS = (int64_t)MS5611.C1*32768 + (int64_t)MS5611.C3*MS5611.dT/256;	//5611
	//MS5611.SENS = (int64_t)MS5611.C1*65536 + (int64_t)MS5611.C3*MS5611.dT/128;	//5607
	MS5611.P = (MS5611.D1*MS5611.SENS/2097152 - MS5611.OFF)/32768;
	Pressure = MS5611.P/100.0;
	Altitude_meas = (1 - pow((Pressure / 1013.25),0.190284)) * 44191.4;

}
//
// 8-bit veri yazma
void SPI1_Write8(uint8_t data) {
    while (!LL_SPI_IsActiveFlag_TXE(SPI1))
        ;
    LL_SPI_TransmitData8(SPI1, data);
    while (!LL_SPI_IsActiveFlag_RXNE(SPI1))
        ;
    LL_SPI_ReceiveData8(SPI1);
}

// 8-bit veri okuma
uint8_t SPI1_Read8(void) {
    while (!LL_SPI_IsActiveFlag_TXE(SPI1))
        ;
    LL_SPI_TransmitData8(SPI1, 0xFF);
    while (!LL_SPI_IsActiveFlag_RXNE(SPI1))
        ;
    return LL_SPI_ReceiveData8(SPI1);
}

// 16-bit veri okuma
uint16_t SPI1_Read16(void) {
    while (!LL_SPI_IsActiveFlag_TXE(SPI1))
        ;
    LL_SPI_TransmitData16(SPI1, 0xFFFF);
    while (!LL_SPI_IsActiveFlag_RXNE(SPI1))
        ;
    return LL_SPI_ReceiveData16(SPI1);
}

// 32-bit veri okuma
uint32_t SPI1_Read32(void) {
    while (!LL_SPI_IsActiveFlag_TXE(SPI1))
        ;
    LL_SPI_TransmitData16(SPI1, 0xFFFF); // Yüksek 16 bit için dummy data
    while (!LL_SPI_IsActiveFlag_RXNE(SPI1))
        ;
    uint16_t data_high = LL_SPI_ReceiveData16(SPI1);

    while (!LL_SPI_IsActiveFlag_TXE(SPI1))
        ;
    LL_SPI_TransmitData16(SPI1, 0xFFFF); // Düşük 16 bit için dummy data
    while (!LL_SPI_IsActiveFlag_RXNE(SPI1))
        ;
    uint16_t data_low = LL_SPI_ReceiveData16(SPI1);

    return ((uint32_t)data_high << 16) | data_low;
}

uint32_t map( long A , long B , long C , long D, long E)
{
	return ( A - B) * (E - D ) / (C - B )+ D ;
}

void Buzzer(){
	  HAL_GPIO_WritePin(GPIOC, GPIO_PIN_14, SET);
	  HAL_Delay(300);
	  HAL_GPIO_WritePin(GPIOC, GPIO_PIN_14, RESET);
	  HAL_Delay(100);
	  HAL_GPIO_WritePin(GPIOC, GPIO_PIN_14, SET);
	  HAL_Delay(150);
	  HAL_GPIO_WritePin(GPIOC, GPIO_PIN_14, RESET);
	  HAL_Delay(100);
	  HAL_GPIO_WritePin(GPIOC, GPIO_PIN_14, SET);
	  HAL_Delay(100);
	  HAL_GPIO_WritePin(GPIOC, GPIO_PIN_14, RESET);
	  HAL_Delay(100);
	  HAL_GPIO_WritePin(GPIOC, GPIO_PIN_14, SET);
	  HAL_Delay(100);
	  HAL_GPIO_WritePin(GPIOC, GPIO_PIN_14, RESET);
	  HAL_Delay(100);
	  HAL_GPIO_WritePin(GPIOC, GPIO_PIN_14, SET);
	  HAL_Delay(250);
	  HAL_GPIO_WritePin(GPIOC, GPIO_PIN_14, RESET);
}

int _write(int file , char*p, int len)
{
//	for(int i = 0; i <len; i++)
//	{
//		//HAL_UART_Transmit(huart, *(p+i), Size, Timeout)
//	}

	return len;
}

void Calibrate_ESC()
{
	TIM4->CCR1 = 21000;
	TIM4->CCR2 = 21000;
	TIM4->CCR3 = 21000;
	TIM4->CCR4 = 21000;
	HAL_Delay(7000);
	TIM4->CCR1 = 10500;
	TIM4->CCR2 = 10500;
	TIM4->CCR3 = 10500;
	TIM4->CCR4 = 10500;
	HAL_Delay(8000);

}

void send()
{

	 Tx_Buff[0] = 0x0;
	 Tx_Buff[1] = 0x1;
	 Tx_Buff[2] = 0x17;

	 converter.f =BNO080_Yaw ;

	 Tx_Buff[3]=converter.b[0];
	 Tx_Buff[4]=converter.b[1];
	 Tx_Buff[5]=converter.b[2];
	 Tx_Buff[6]=converter.b[3];

	 converter.f =BNO080_Roll ;

	 Tx_Buff[7]=converter.b[0];
	 Tx_Buff[8]=converter.b[1];
	 Tx_Buff[9]=converter.b[2];
	 Tx_Buff[10]=converter.b[3];

	 converter.f =BNO080_Pitch ;

	 Tx_Buff[11]=converter.b[0];
	 Tx_Buff[12]=converter.b[1];
	 Tx_Buff[13]=converter.b[2];
	 Tx_Buff[14]=converter.b[3];

	 converter.f = gps.latitude ;

	 Tx_Buff[15]=converter.b[0];
	 Tx_Buff[16]=converter.b[1];
	 Tx_Buff[17]=converter.b[2];
	 Tx_Buff[18]=converter.b[3];

	 converter.f = gps.longitude;

	 Tx_Buff[19]=converter.b[0];
	 Tx_Buff[20]=converter.b[1];
	 Tx_Buff[21]=converter.b[2];
	 Tx_Buff[22]=converter.b[3];

	 converter.f = 31.1;

	Tx_Buff[23]=converter.b[0];
	Tx_Buff[24]=converter.b[1];
	Tx_Buff[25]=converter.b[2];
	Tx_Buff[26]=converter.b[3];
	 Tx_Buff[27]='\n';

	//HAL_UART_Transmit(&huart6, &Low_Addr, 1, 100);
	//HAL_UART_Transmit(&huart6, &High_Addr, 1, 100);
	//HAL_UART_Transmit(&huart6, &CH, 1, 100);
	HAL_UART_Transmit_IT(&huart6, Tx_Buff, sizeof(Tx_Buff));

	//HAL_UART_Transmit_IT(&huart6, Tx_Buff, 11);

}

unsigned char iBus_isActiveFailsafe(FSiA6B_iBus* iBus)
{
	return iBus->FailSafe != 0;
}

void PID_Coef_Config(void)
{

	  roll.in.kd = 0.15;
	  roll.in.kp = 2;
	  roll.in.ki = 0.3;

	  roll.out.kd = 4.5;
	  roll.out.kp = 15;
	  roll.out.ki =3.5;

	  pitch.in.kd = 0.15;
	  pitch.in.kp = 2;
	  pitch.in.ki = 0.3;

	  pitch.out.kd = 4.5;
	  pitch.out.kp = 15;
	  pitch.out.ki = 3.5;

	//
	  yaw_heading.kd = 15.0;
	  yaw_heading.kp = 30;
	  yaw_heading.ki =0.0001;

	  yaw_rate.kd = 0.05;
	  yaw_rate.kp = 4;
	  yaw_rate.ki = 0.0;

	  altitude.kd = 0.01;
	  altitude.kp = 3;
	  altitude.ki = 0.001;
}

void PID_CONFIG_LORA()
{
	converter.b[0] = rx_buffer_PID[0];
	converter.b[1] = rx_buffer_PID[1];
	converter.b[2] = rx_buffer_PID[2];
	converter.b[3] = rx_buffer_PID[3];
	roll.in.kd = converter.f;

	converter.b[0] = rx_buffer_PID[4];
	converter.b[1] = rx_buffer_PID[5];
	converter.b[2] = rx_buffer_PID[6];
	converter.b[3] = rx_buffer_PID[7];
	roll.in.ki = converter.f;

	converter.b[0] = rx_buffer_PID[8];
	converter.b[1] = rx_buffer_PID[9];
	converter.b[2] = rx_buffer_PID[10];
	converter.b[3] = rx_buffer_PID[11];
	roll.in.kp = converter.f;

	converter.b[0] = rx_buffer_PID[12];
	converter.b[1] = rx_buffer_PID[13];
	converter.b[2] = rx_buffer_PID[14];
	converter.b[3] = rx_buffer_PID[15];
	roll.out.kd = converter.f;

	converter.b[0] = rx_buffer_PID[16];
	converter.b[1] = rx_buffer_PID[17];
	converter.b[2] = rx_buffer_PID[18];
	converter.b[3] = rx_buffer_PID[19];
	roll.out.ki = converter.f;

	converter.b[0] = rx_buffer_PID[20];
	converter.b[1] = rx_buffer_PID[21];
	converter.b[2] = rx_buffer_PID[22];
	converter.b[3] = rx_buffer_PID[23];
	roll.out.kp = converter.f;

	converter.b[0] = rx_buffer_PID[24];
	converter.b[1] = rx_buffer_PID[25];
	converter.b[2] = rx_buffer_PID[26];
	converter.b[3] = rx_buffer_PID[27];
	pitch.in.kd = converter.f;

	converter.b[0] = rx_buffer_PID[28];
	converter.b[1] = rx_buffer_PID[29];
	converter.b[2] = rx_buffer_PID[30];
	converter.b[3] = rx_buffer_PID[31];
	pitch.in.ki = converter.f;

	converter.b[0] = rx_buffer_PID[32];
	converter.b[1] = rx_buffer_PID[33];
	converter.b[2] = rx_buffer_PID[34];
	converter.b[3] = rx_buffer_PID[35];
	pitch.in.kp = converter.f;

	converter.b[0] = rx_buffer_PID[36];
	converter.b[1] = rx_buffer_PID[37];
	converter.b[2] = rx_buffer_PID[38];
	converter.b[3] = rx_buffer_PID[39];
	pitch.out.kd = converter.f;

	converter.b[0] = rx_buffer_PID[40];
	converter.b[1] = rx_buffer_PID[41];
	converter.b[2] = rx_buffer_PID[42];
	converter.b[3] = rx_buffer_PID[43];
	pitch.out.ki = converter.f;

	converter.b[0] = rx_buffer_PID[44];
	converter.b[1] = rx_buffer_PID[45];
	converter.b[2] = rx_buffer_PID[46];
	converter.b[3] = rx_buffer_PID[47];
	pitch.out.kp = converter.f;

	converter.b[0] = rx_buffer_PID[48];
	converter.b[1] = rx_buffer_PID[49];
	converter.b[2] = rx_buffer_PID[50];
	converter.b[3] = rx_buffer_PID[51];
	yaw_heading.kd = converter.f;

	converter.b[0] = rx_buffer_PID[52];
	converter.b[1] = rx_buffer_PID[53];
	converter.b[2] = rx_buffer_PID[54];
	converter.b[3] = rx_buffer_PID[55];
	yaw_heading.ki = converter.f;

	converter.b[0] = rx_buffer_PID[56];
	converter.b[1] = rx_buffer_PID[57];
	converter.b[2] = rx_buffer_PID[58];
	converter.b[3] = rx_buffer_PID[59];
	yaw_heading.kp = converter.f;

	converter.b[0] = rx_buffer_PID[60];
	converter.b[1] = rx_buffer_PID[61];
	converter.b[2] = rx_buffer_PID[62];
	converter.b[3] = rx_buffer_PID[63];
	yaw_rate.kd = converter.f;

	converter.b[0] = rx_buffer_PID[64];
	converter.b[1] = rx_buffer_PID[65];
	converter.b[2] = rx_buffer_PID[66];
	converter.b[3] = rx_buffer_PID[67];
	yaw_rate.ki = converter.f;

	converter.b[0] = rx_buffer_PID[68];
	converter.b[1] = rx_buffer_PID[69];
	converter.b[2] = rx_buffer_PID[70];
	converter.b[3] = rx_buffer_PID[71];
	yaw_rate.kp = converter.f;

}

/* USER CODE END 4 */

void Error_Handler(void)
{
  __disable_irq();
  while (1)
  {
  }
}
